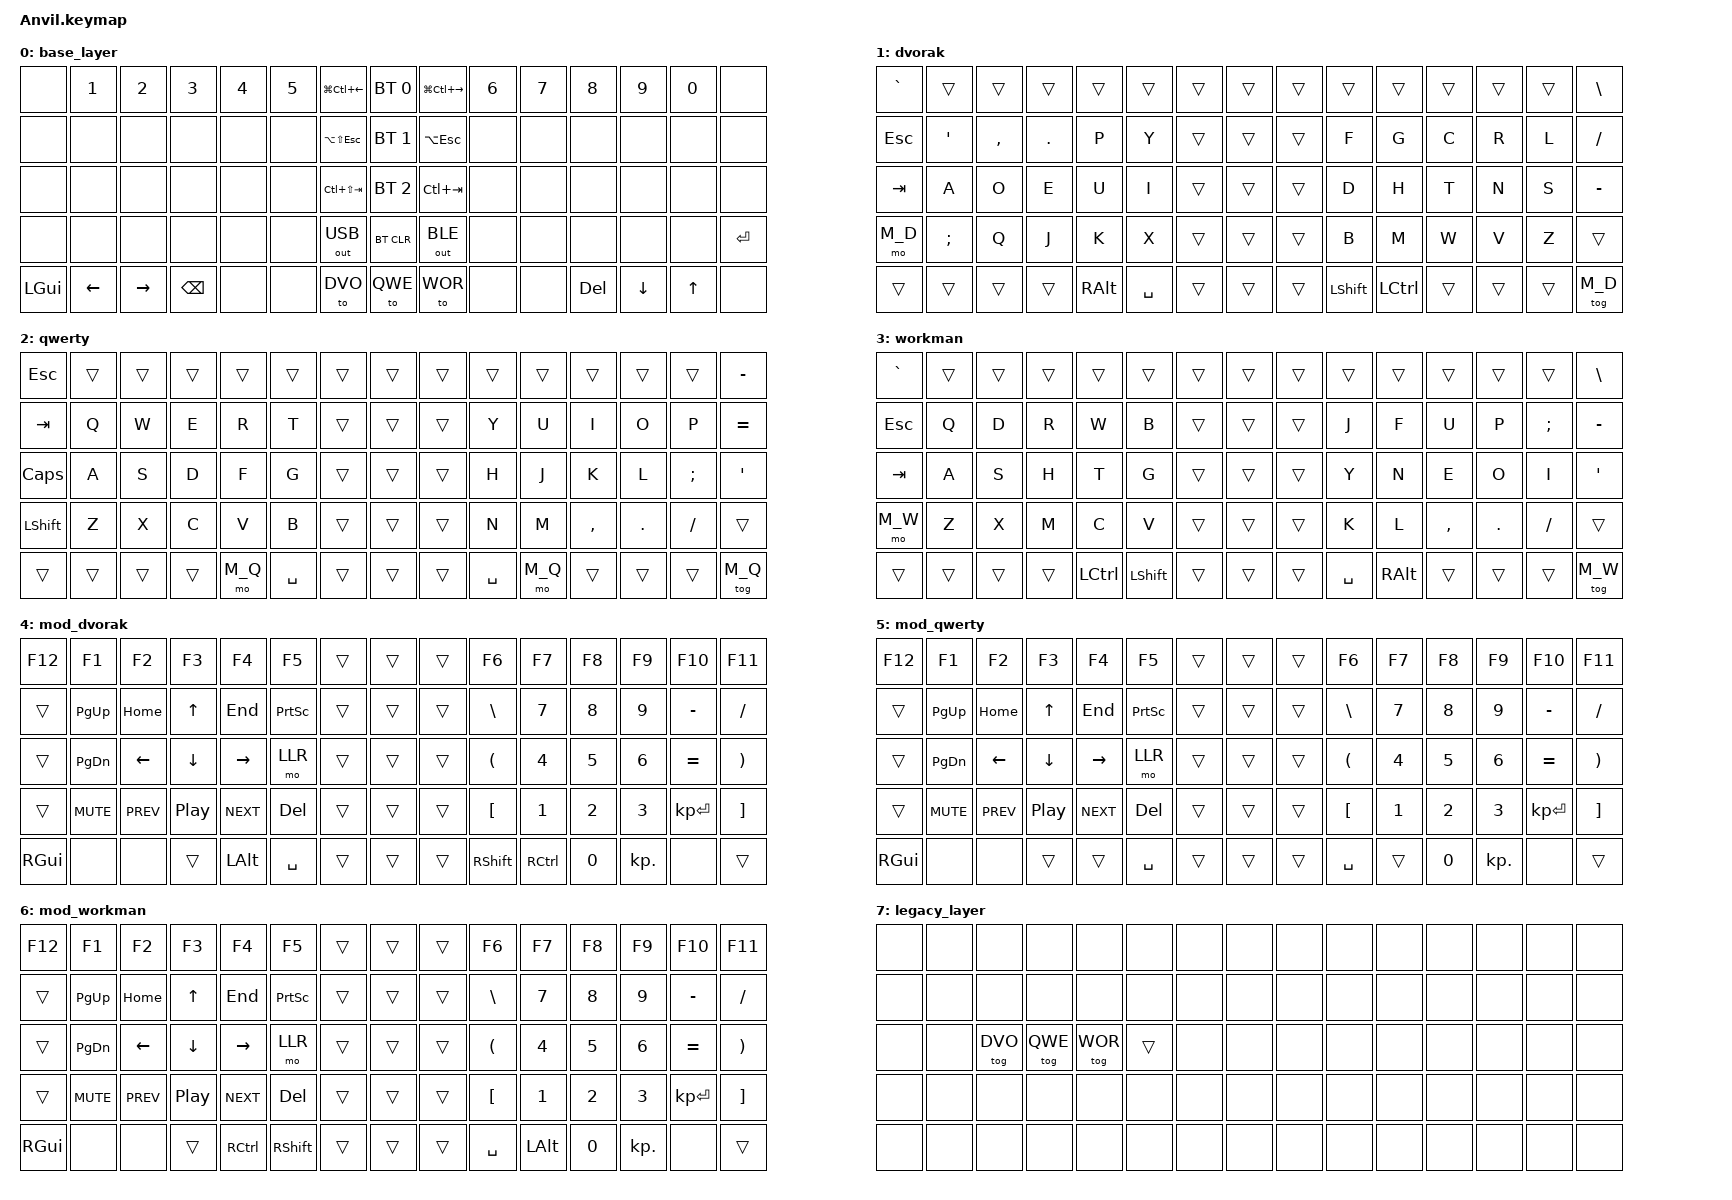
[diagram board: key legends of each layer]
#include <behaviors.dtsi>
#include <dt-bindings/zmk/keys.h>
#include <dt-bindings/zmk/bt.h>
#include <dt-bindings/zmk/outputs.h>

#define DVO 1
#define QWE 2
#define WOR 3
#define M_D 4
#define M_Q 5
#define M_W 6
#define LLR 7

/ {
    keymap {
        compatible = "zmk,keymap";

        base_layer {
            bindings = <
                &none     &kp N1    &kp N2     &kp N3    &kp N4  &kp N5  &kp LG(LC(LEFT))  &bt BT_SEL 0  &kp LG(LC(RIGHT)) &kp N6  &kp N7  &kp N8   &kp N9    &kp N0  &none
                &none     &none     &none      &none     &none   &none   &kp LA(LS(ESC))   &bt BT_SEL 1  &kp LA(ESC)       &none   &none   &none    &none     &none   &none
                &none     &none     &none      &none     &none   &none   &kp LC(LS(TAB))   &bt BT_SEL 2  &kp LC(TAB)       &none   &none   &none    &none     &none   &none
                &none     &none     &none      &none     &none   &none   &out OUT_USB      &bt BT_CLR    &out OUT_BLE      &none   &none   &none    &none     &none   &kp ENTER
                &kp LGUI  &kp LEFT  &kp RIGHT  &kp BSPC  &none   &none   &to  DVO          &to  QWE      &to  WOR          &none   &none   &kp DEL  &kp DOWN  &kp UP  &none
            >;
        };

        dvorak {
            bindings = <
                &kp GRAVE  &trans    &trans     &trans   &trans    &trans     &trans  &trans  &trans  &trans      &trans     &trans     &trans  &trans  &kp BSLH
                &kp ESC    &kp APOS  &kp COMMA  &kp DOT  &kp P     &kp Y      &trans  &trans  &trans  &kp F       &kp G      &kp C      &kp R   &kp L   &kp SLASH
                &kp TAB    &kp A     &kp O      &kp E    &kp U     &kp I      &trans  &trans  &trans  &kp D       &kp H      &kp T      &kp N   &kp S   &kp MINUS
                &mo M_D    &kp SEMI  &kp Q      &kp J    &kp K     &kp X      &trans  &trans  &trans  &kp B       &kp M      &kp W      &kp V   &kp Z   &trans
                &trans     &trans    &trans     &trans   &kp RALT  &kp SPACE  &trans  &trans  &trans  &kp LSHFT   &kp LCTRL  &trans     &trans  &trans  &tog M_D
            >;
        };

        qwerty {
            bindings = <
                &kp ESC    &trans  &trans  &trans  &trans   &trans     &trans  &trans  &trans  &trans     &trans   &trans     &trans   &trans     &kp MINUS
                &kp TAB    &kp Q   &kp W   &kp E   &kp R    &kp T      &trans  &trans  &trans  &kp Y      &kp U    &kp I      &kp O    &kp P      &kp EQUAL
                &kp CAPS   &kp A   &kp S   &kp D   &kp F    &kp G      &trans  &trans  &trans  &kp H      &kp J    &kp K      &kp L    &kp SEMI   &kp APOS
                &kp LSHFT  &kp Z   &kp X   &kp C   &kp V    &kp B      &trans  &trans  &trans  &kp N      &kp M    &kp COMMA  &kp DOT  &kp SLASH  &trans
                &trans     &trans  &trans  &trans  &mo M_Q  &kp SPACE  &trans  &trans  &trans  &kp SPACE  &mo M_Q  &trans     &trans   &trans     &tog M_Q
            >;
        };

        workman {
            bindings = <
                &kp GRAVE  &trans  &trans  &trans  &trans     &trans     &trans  &trans  &trans  &trans     &trans    &trans     &trans   &trans     &kp BSLH
                &kp ESC    &kp Q   &kp D   &kp R   &kp W      &kp B      &trans  &trans  &trans  &kp J      &kp F     &kp U      &kp P    &kp SEMI   &kp MINUS
                &kp TAB    &kp A   &kp S   &kp H   &kp T      &kp G      &trans  &trans  &trans  &kp Y      &kp N     &kp E      &kp O    &kp I      &kp APOS
                &mo M_W    &kp Z   &kp X   &kp M   &kp C      &kp V      &trans  &trans  &trans  &kp K      &kp L     &kp COMMA  &kp DOT  &kp SLASH  &trans
                &trans     &trans  &trans  &trans  &kp LCTRL  &kp LSHFT  &trans  &trans  &trans  &kp SPACE  &kp RALT  &trans     &trans   &trans     &tog M_W
            >;
        };

        mod_dvorak {
            bindings = <
                &kp F12   &kp F1      &kp F2      &kp F3    &kp F4      &kp F5     &trans  &trans  &trans  &kp F6     &kp F7     &kp F8  &kp F9      &kp F10       &kp F11
                &trans    &kp PG_UP   &kp HOME    &kp UP    &kp END     &kp PSCRN  &trans  &trans  &trans  &kp BSLH   &kp N7     &kp N8  &kp N9      &kp MINUS     &kp SLASH
                &trans    &kp PG_DN   &kp LEFT    &kp DOWN  &kp RIGHT   &mo LLR    &trans  &trans  &trans  &kp LPAR   &kp N4     &kp N5  &kp N6      &kp EQUAL     &kp RPAR
                &trans    &kp C_MUTE  &kp C_PREV  &kp C_PP  &kp C_NEXT  &kp DEL    &trans  &trans  &trans  &kp LBKT   &kp N1     &kp N2  &kp N3      &kp KP_ENTER  &kp RBKT
                &kp RGUI  &none       &none       &trans    &kp LALT    &kp SPACE  &trans  &trans  &trans  &kp RSHFT  &kp RCTRL  &kp N0  &kp KP_DOT  &none         &trans
            >;
        };

        mod_qwerty {
            bindings = <
                &kp F12   &kp F1      &kp F2      &kp F3    &kp F4      &kp F5     &trans  &trans  &trans  &kp F6     &kp F7     &kp F8  &kp F9      &kp F10       &kp F11
                &trans    &kp PG_UP   &kp HOME    &kp UP    &kp END     &kp PSCRN  &trans  &trans  &trans  &kp BSLH   &kp N7     &kp N8  &kp N9      &kp MINUS     &kp SLASH
                &trans    &kp PG_DN   &kp LEFT    &kp DOWN  &kp RIGHT   &mo LLR    &trans  &trans  &trans  &kp LPAR   &kp N4     &kp N5  &kp N6      &kp EQUAL     &kp RPAR
                &trans    &kp C_MUTE  &kp C_PREV  &kp C_PP  &kp C_NEXT  &kp DEL    &trans  &trans  &trans  &kp LBKT   &kp N1     &kp N2  &kp N3      &kp KP_ENTER  &kp RBKT
                &kp RGUI  &none       &none       &trans    &trans      &kp SPACE  &trans  &trans  &trans  &kp SPACE  &trans     &kp N0  &kp KP_DOT  &none         &trans
            >;
        };

        mod_workman {
            bindings = <
                &kp F12   &kp F1      &kp F2      &kp F3    &kp F4      &kp F5     &trans  &trans  &trans  &kp F6     &kp F7     &kp F8  &kp F9      &kp F10       &kp F11
                &trans    &kp PG_UP   &kp HOME    &kp UP    &kp END     &kp PSCRN  &trans  &trans  &trans  &kp BSLH   &kp N7     &kp N8  &kp N9      &kp MINUS     &kp SLASH
                &trans    &kp PG_DN   &kp LEFT    &kp DOWN  &kp RIGHT   &mo LLR    &trans  &trans  &trans  &kp LPAR   &kp N4     &kp N5  &kp N6      &kp EQUAL     &kp RPAR
                &trans    &kp C_MUTE  &kp C_PREV  &kp C_PP  &kp C_NEXT  &kp DEL    &trans  &trans  &trans  &kp LBKT   &kp N1     &kp N2  &kp N3      &kp KP_ENTER  &kp RBKT
                &kp RGUI  &none       &none       &trans    &kp RCTRL   &kp RSHFT  &trans  &trans  &trans  &kp SPACE  &kp LALT   &kp N0  &kp KP_DOT  &none         &trans
            >;
        };

        legacy_layer {
            bindings = <
                &none  &none  &none     &none     &none     &none   &none  &none  &none  &none  &none  &none  &none  &none  &none
                &none  &none  &none     &none     &none     &none   &none  &none  &none  &none  &none  &none  &none  &none  &none
                &none  &none  &tog DVO  &tog QWE  &tog WOR  &trans  &none  &none  &none  &none  &none  &none  &none  &none  &none
                &none  &none  &none     &none     &none     &none   &none  &none  &none  &none  &none  &none  &none  &none  &none
                &none  &none  &none     &none     &none     &none   &none  &none  &none  &none  &none  &none  &none  &none  &none
            >;
        };
    };
};
